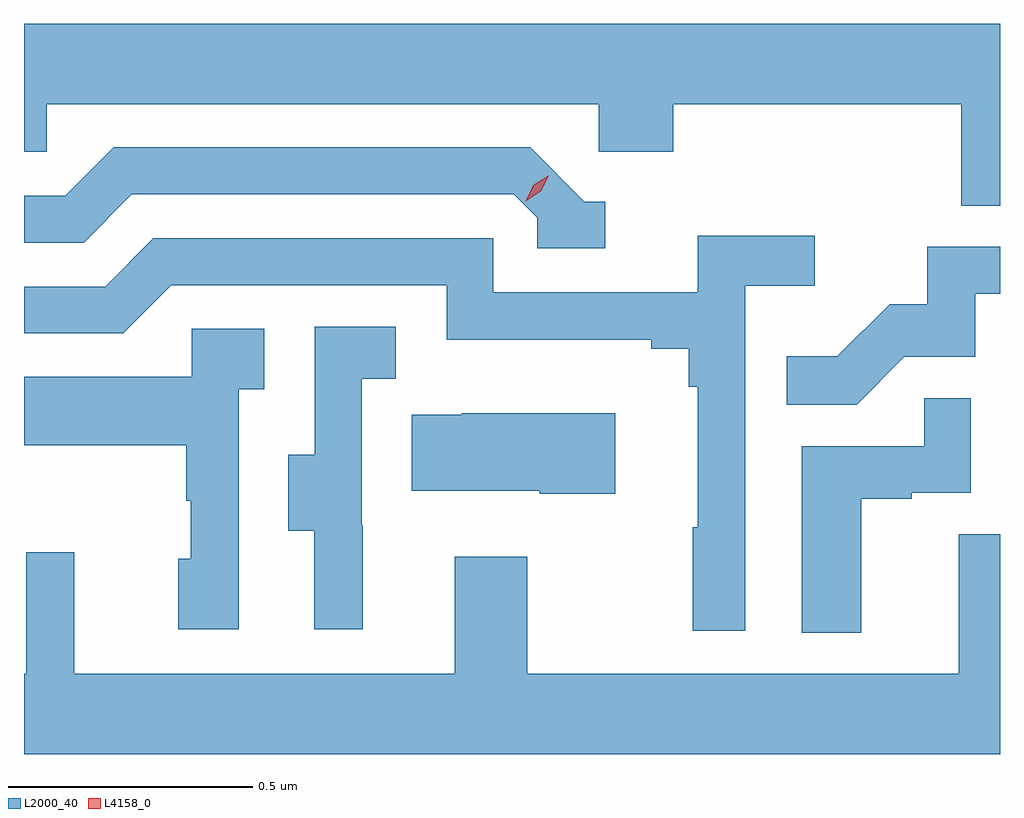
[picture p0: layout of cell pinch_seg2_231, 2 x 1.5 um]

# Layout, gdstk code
import gdstk
lib = gdstk.Library(unit=1e-6, precision=1e-09)
def P(c, l, *ps):  # polygons
    for p in ps: c.add(gdstk.Polygon(p, *l))
L2000_40 = (2000, 40)
L4158_0 = (4158, 0)

pinch_seg2_231 = lib.new_cell('pinch_seg2_231')
P(pinch_seg2_231, L2000_40, [(1015.362,655.792),(1013.362,655.792),(1013.362,655.53),(1013.409,655.53),(1013.409,655.628),(1014.54,655.628),(1014.54,655.53),(1014.692,655.53),(1014.692,655.628),(1015.283,655.628),(1015.283,655.42),(1015.362,655.42)],
  [(1014.553,655.428),(1014.51,655.428),(1014.399,655.539),(1013.546,655.539),(1013.447,655.44),(1013.362,655.44),(1013.362,655.344),(1013.484,655.344),(1013.583,655.443),(1014.366,655.443),(1014.414,655.395),(1014.414,655.332),(1014.553,655.332)],
  [(1014.84,655.256),(1014.982,655.256),(1014.982,655.358),(1014.743,655.358),(1014.743,655.242),(1014.324,655.242),(1014.324,655.353),(1013.627,655.353),(1013.528,655.254),(1013.362,655.254),(1013.362,655.158),(1013.565,655.158),(1013.664,655.257),(1014.228,655.257),(1014.228,655.145),(1014.647,655.145),(1014.647,655.126),(1014.724,655.126),(1014.724,655.049),(1014.743,655.049),(1014.743,654.761),(1014.732,654.761),(1014.732,654.549),(1014.84,654.549)],
  [(1015.166,655.11),(1015.311,655.11),(1015.311,655.239),(1015.362,655.239),(1015.362,655.335),(1015.213,655.335),(1015.213,655.218),(1015.136,655.218),(1015.029,655.111),(1014.925,655.111),(1014.925,655.012),(1015.068,655.012)],
  [(1014.056,654.765),(1014.054,654.765),(1014.054,655.065),(1014.124,655.065),(1014.124,655.172),(1013.958,655.172),(1013.958,654.909),(1013.903,654.909),(1013.903,654.754),(1013.957,654.754),(1013.957,654.552),(1014.056,654.552)],
  [(1013.802,655.043),(1013.854,655.043),(1013.854,655.167),(1013.706,655.167),(1013.706,655.069),(1013.362,655.069),(1013.362,654.929),(1013.694,654.929),(1013.694,654.815),(1013.704,654.815),(1013.704,654.696),(1013.678,654.696),(1013.678,654.552),(1013.802,654.552)],
  [(1015.078,654.819),(1015.181,654.819),(1015.181,654.831),(1015.302,654.831),(1015.302,655.025),(1015.207,655.025),(1015.207,654.927),(1014.956,654.927),(1014.956,654.545),(1015.078,654.545)],
  [(1014.574,654.994),(1014.259,654.994),(1014.259,654.991),(1014.157,654.991),(1014.157,654.836),(1014.419,654.836),(1014.419,654.829),(1014.574,654.829)],
  [(1015.362,654.746),(1015.277,654.746),(1015.277,654.46),(1014.393,654.46),(1014.393,654.7),(1014.245,654.7),(1014.245,654.46),(1013.465,654.46),(1013.465,654.709),(1013.367,654.709),(1013.367,654.46),(1013.362,654.46),(1013.362,654.296),(1015.362,654.296)])
P(pinch_seg2_231, L4158_0, [(1014.39,655.429),(1014.39,655.429),(1014.406,655.462),(1014.436,655.481),(1014.437,655.481),(1014.437,655.481),(1014.421,655.449),(1014.39,655.429)])

lib.write_gds('pinch_seg2_231.gds')
